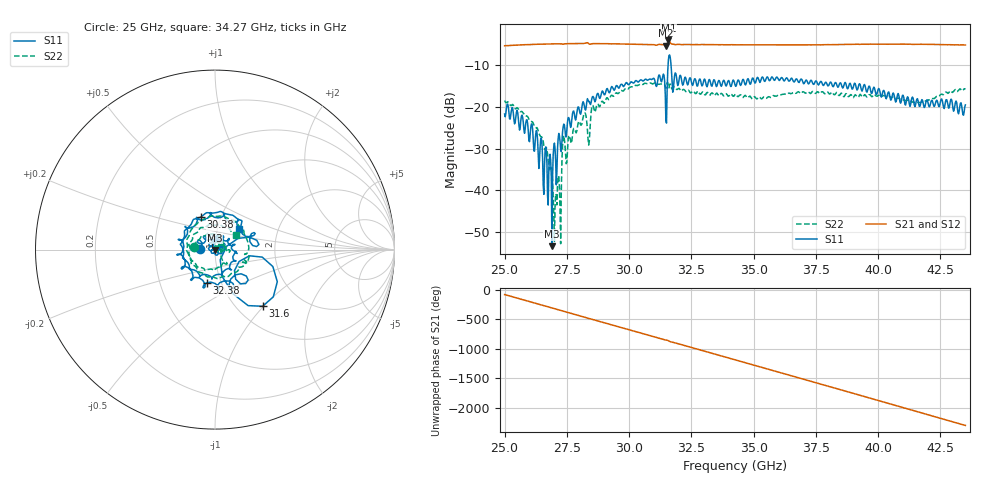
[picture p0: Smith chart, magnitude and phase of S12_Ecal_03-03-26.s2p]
!Keysight Technologies,N5224A,MY55441802,A.10.65.16
!Date: Tuesday, March 03, 2026 15:16:08
!Correction: S11(Full 2 Port(1,2))
!S21(Full 2 Port(1,2))
!S12(Full 2 Port(1,2))
!S22(Full 2 Port(1,2))
!S2P File: Measurements: S11, S21, S12, S22:
# Hz S  dB  R 50
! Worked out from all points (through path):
!   741 points, 25 GHz to 43.5 GHz, reference 50 ohm
!   highest |S21| = -4.12 dB at 31.57 GHz (marker M1); lowest = -5.4 dB at 31.48 GHz (marker M2)
!   group delay of S21, straight-line fit = 332 ps
!   lowest |S11| = -53.3 dB at 26.9 GHz (marker M3), VSWR 1.00, Z = 49.9 - j0.169 ohm
!   |S11| at or under -10 dB: start of sweep to 31.56 GHz; 31.68 GHz to end of sweep
!   |S22| runs from -52.7 to -14.2 dB; largest |S21 - S12| = 0.0079
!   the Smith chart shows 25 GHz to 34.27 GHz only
!   S11 on the Smith chart (normalised r, x): 25 GHz: 0.85, +0.01; 30.38 GHz: 0.80, +0.30; 31.6 GHz: 1.30, -0.99; 32.38 GHz: 0.85, -0.33; 34.27 GHz: 1.26, +0.31
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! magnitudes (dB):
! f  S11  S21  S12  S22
! 25 GHz  -21.7  -5.4  -5.4  -18.5
! 26.3 GHz  -26.2  -5.0  -5.0  -25.0
! 26.9 GHz  -53.3  -4.9  -4.9  -35.0
! 27.02 GHz  -30.1  -4.9  -4.9  -43.8
! 27.12 GHz  -29.9  -4.9  -4.9  -38.2
! 27.23 GHz  -28.2  -4.9  -4.9  -44.4
! 27.38 GHz  -24.1  -5.0  -5.0  -26.8
! 28.1 GHz  -20.2  -4.9  -4.8  -24.1
! 28.38 GHz  -18.7  -4.9  -4.9  -29.1
! 28.55 GHz  -17.5  -4.9  -4.8  -19.7
! 30.38 GHz  -14.1  -5.1  -5.1  -14.8
! 31.18 GHz  -12.7  -5.1  -5.1  -14.6
! 31.48 GHz  -23.3  -5.4  -5.4  -15.5
! 31.57 GHz  -8.8  -4.1  -4.1  -15.4
! 31.6 GHz  -7.7  -4.1  -4.1  -15.5
! 31.77 GHz  -15.9  -5.0  -5.0  -15.3
! 32.38 GHz  -14.4  -5.1  -5.1  -16.0
! 34.25 GHz  -14.7  -5.1  -5.1  -17.1
! 34.27 GHz  -15.1  -5.1  -5.1  -17.0
! 37.35 GHz  -14.1  -5.2  -5.2  -16.3
! 40.42 GHz  -16.4  -5.0  -5.0  -17.4
! 43.5 GHz  -19.5  -5.2  -5.2  -15.8
